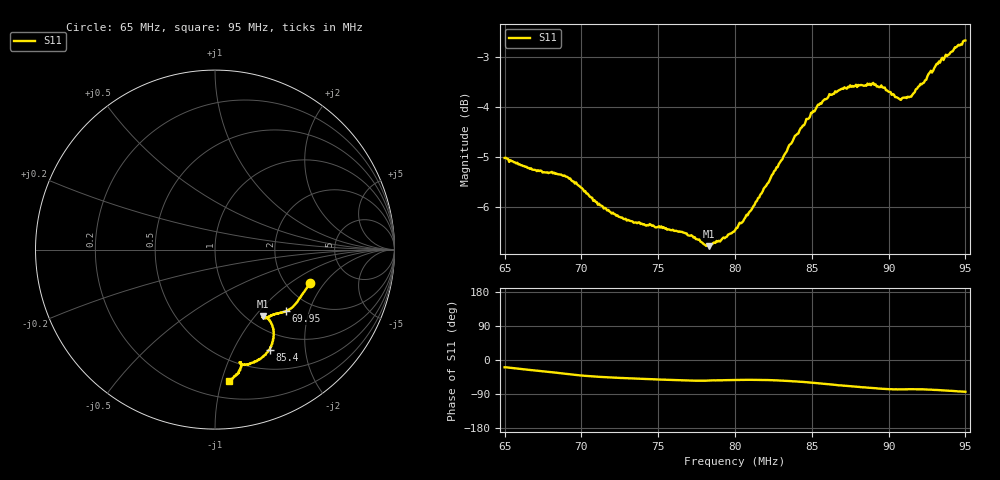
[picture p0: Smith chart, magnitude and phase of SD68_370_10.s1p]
! NanoVNA-App
! Date: 2025-08-09 12:44:32
! Start: 65MHz Stop: 95MHz Points: 401
! S-Parameter data: F S11
# Hz S RI R 50
!  Frequency  S11_Real  S11_Imag
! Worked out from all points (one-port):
!   401 points, 65 MHz to 95 MHz, reference 50 ohm
!   lowest |S11| = -6.8 dB at 78.28 MHz (marker M1), VSWR 2.69, Z = 58.6 - j55.1 ohm
!   |S11| at or under -10 dB: nowhere
!   S11 on the Smith chart (normalised r, x): 65 MHz: 2.69, -1.45; 69.95 MHz: 1.51, -1.43; 85.4 MHz: 0.75, -1.40; 95 MHz: 0.33, -1.06
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6.5e7  0.5303 -0.1846
6.695e7  0.4851 -0.2516
6.875e7  0.4401 -0.3121
6.995e7  0.3971 -0.3432
7.0925e7  0.3658 -0.3517
7.25e7  0.3326 -0.3599
7.625e7  0.2824 -0.381
7.73e7  0.2708 -0.3809
7.79e7  0.2674 -0.376
7.8275e7  0.2678 -0.3718
8e7  0.2876 -0.3783
8.0975e7  0.3034 -0.393
8.21e7  0.3194 -0.4218
8.2925e7  0.3259 -0.4501
8.375e7  0.3249 -0.4849
8.4575e7  0.3187 -0.5191
8.54e7  0.3041 -0.5572
8.6675e7  0.2631 -0.5997
8.75e7  0.2338 -0.6213
8.8925e7  0.1847 -0.6402
8.99e7  0.1493 -0.6388
9.0725e7  0.1393 -0.6276
9.125e7  0.1446 -0.6304
9.155e7  0.1437 -0.6335
9.2225e7  0.1467 -0.6507
9.32e7  0.1306 -0.6848
9.44e7  0.0972 -0.718
9.5e7  0.0784 -0.732
